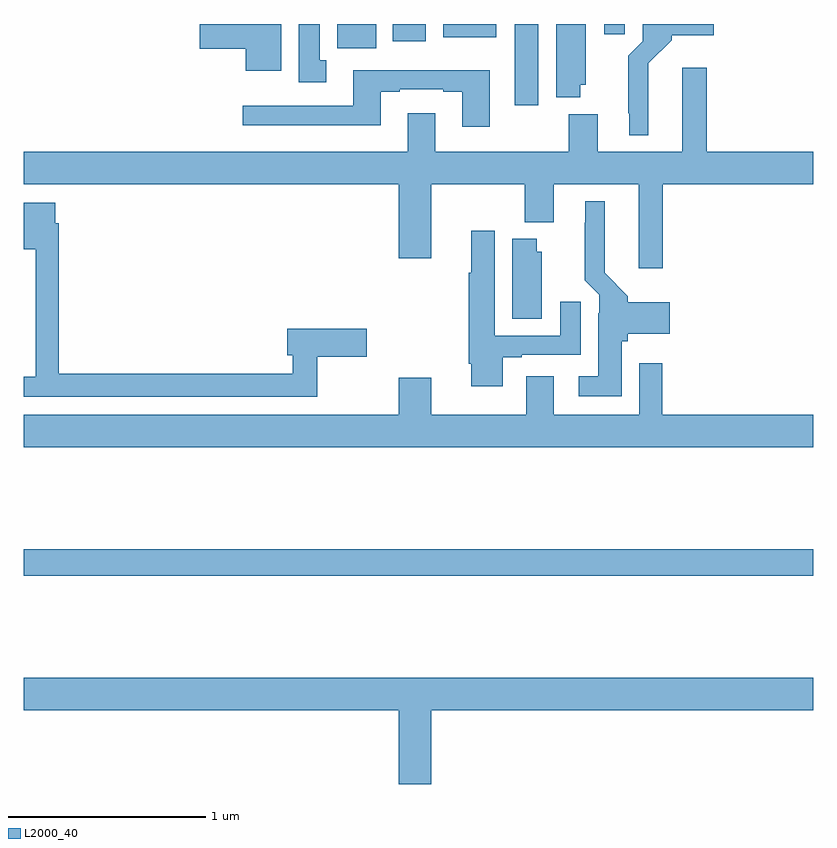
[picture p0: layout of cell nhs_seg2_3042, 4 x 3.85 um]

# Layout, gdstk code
import gdstk
lib = gdstk.Library(unit=1e-6, precision=1e-09)
def R(c, l, rs):  # rectangles x0, y0, x1, y1
    for r in rs: c.add(gdstk.rectangle(r[:2], r[2:], *l))
def P(c, l, *ps):  # polygons
    for p in ps: c.add(gdstk.Polygon(p, *l))
L2000_40 = (2000, 40)

nhs_seg2_3042 = lib.new_cell('nhs_seg2_3042')
R(nhs_seg2_3042, L2000_40, [(271,627.004,275,627.14), (273.488,629.388,273.607,629.8), (272.589,629.676,272.785,629.8), (272.87,629.712,273.037,629.8), (273.125,629.732,273.394,629.8), (273.941,629.748,274.045,629.8)])
P(nhs_seg2_3042, L2000_40, [(274.165,629.6),(274.283,629.718),(274.283,629.744),(274.495,629.744),(274.495,629.8),(274.137,629.8),(274.137,629.712),(274.063,629.638),(274.063,629.347),(274.067,629.347),(274.067,629.237),(274.165,629.237)],
  [(273.82,629.493),(273.847,629.493),(273.847,629.8),(273.698,629.8),(273.698,629.429),(273.82,629.429)],
  [(272.533,629.617),(272.5,629.617),(272.5,629.8),(272.393,629.8),(272.393,629.505),(272.533,629.505)],
  [(272.305,629.8),(271.892,629.8),(271.892,629.675),(272.126,629.675),(272.126,629.564),(272.305,629.564)],
  [(274.238,628.988),(275,628.988),(275,629.152),(274.46,629.152),(274.46,629.578),(274.337,629.578),(274.337,629.152),(273.907,629.152),(273.907,629.344),(273.76,629.344),(273.76,629.152),(273.085,629.152),(273.085,629.347),(272.945,629.347),(272.945,629.152),(271,629.152),(271,628.988),(272.9,628.988),(272.9,628.614),(273.064,628.614),(273.064,628.988),(273.538,628.988),(273.538,628.796),(273.685,628.796),(273.685,628.988),(274.115,628.988),(274.115,628.563),(274.238,628.563)],
  [(273.361,629.566),(272.669,629.566),(272.669,629.385),(272.109,629.385),(272.109,629.288),(272.809,629.288),(272.809,629.457),(272.905,629.457),(272.905,629.469),(273.125,629.469),(273.125,629.457),(273.221,629.457),(273.221,629.28),(273.361,629.28)],
  [(274.03,628.194),(274.061,628.194),(274.061,628.232),(274.273,628.232),(274.273,628.39),(274.061,628.39),(274.061,628.422),(273.943,628.54),(273.943,628.903),(273.845,628.903),(273.845,628.793),(273.841,628.793),(273.841,628.502),(273.915,628.428),(273.915,628.334),(273.911,628.334),(273.911,628.015),(273.813,628.015),(273.813,627.914),(274.03,627.914)],
  [(272.488,628.114),(272.737,628.114),(272.737,628.256),(272.336,628.256),(272.336,628.121),(272.363,628.121),(272.363,628.028),(271.178,628.028),(271.178,628.79),(271.159,628.79),(271.159,628.894),(271,628.894),(271,628.658),(271.062,628.658),(271.062,628.012),(271,628.012),(271,627.912),(272.488,627.912)],
  [(273.427,628.113),(273.523,628.113),(273.523,628.125),(273.823,628.125),(273.823,628.393),(273.719,628.393),(273.719,628.221),(273.385,628.221),(273.385,628.753),(273.266,628.753),(273.266,628.54),(273.254,628.54),(273.254,628.078),(273.266,628.078),(273.266,627.966),(273.427,627.966)],
  [(273.625,628.647),(273.598,628.647),(273.598,628.711),(273.476,628.711),(273.476,628.306),(273.625,628.306)],
  [(275,627.82),(274.235,627.82),(274.235,628.081),(274.119,628.081),(274.119,627.82),(273.685,627.82),(273.685,628.015),(273.545,628.015),(273.545,627.82),(273.064,627.82),(273.064,628.009),(272.9,628.009),(272.9,627.82),(271,627.82),(271,627.656),(275,627.656)],
  [(273.064,626.324),(275,626.324),(275,626.488),(271,626.488),(271,626.324),(272.9,626.324),(272.9,625.95),(273.064,625.95)])

lib.write_gds('nhs_seg2_3042.gds')
